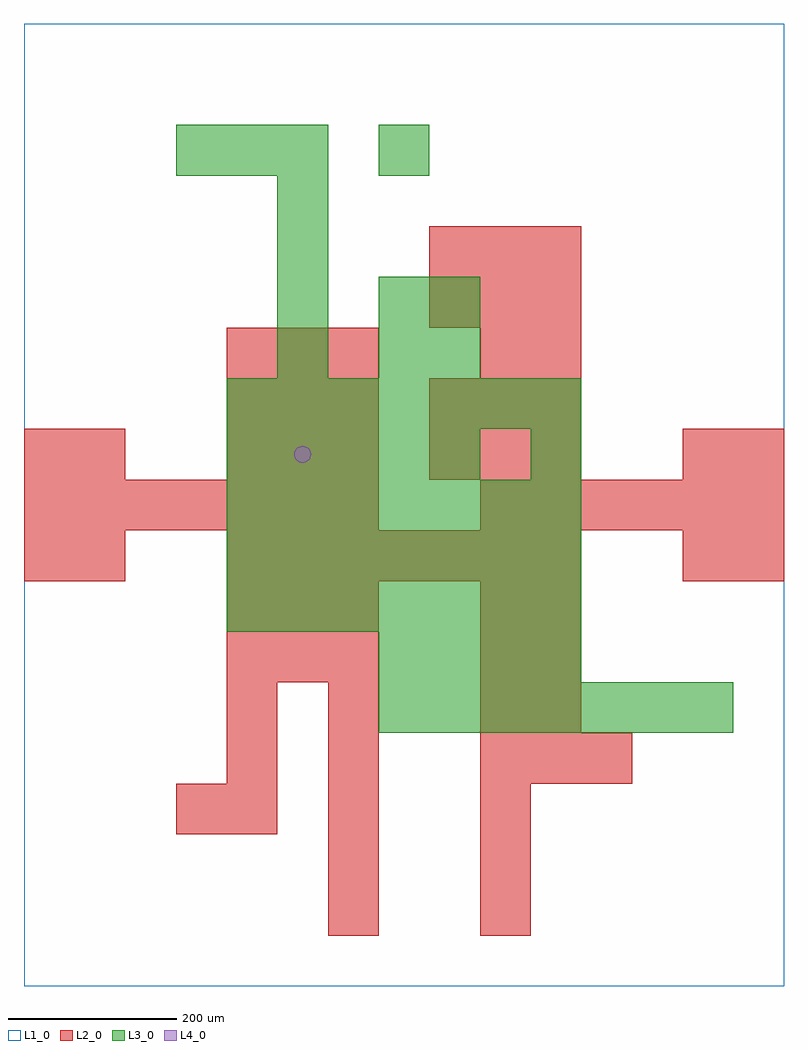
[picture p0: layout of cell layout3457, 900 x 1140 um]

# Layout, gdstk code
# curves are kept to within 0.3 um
import gdstk
lib = gdstk.Library(unit=1e-6, precision=1e-09)
def R(c, l, rs):  # rectangles x0, y0, x1, y1
    for r in rs: c.add(gdstk.rectangle(r[:2], r[2:], *l))
def A(c, l, x, y, w, h, nx, ny, dx, dy):  # array of equal rectangles
    R(c, l, [(x+i*dx, y+j*dy, x+i*dx+w, y+j*dy+h) for i in range(nx) for j in range(ny)])
def P(c, l, *ps):  # polygons
    for p in ps: c.add(gdstk.Polygon(p, *l))
L1_0 = (1, 0)
L2_0 = (2, 0)
L3_0 = (3, 0)
L4_0 = (4, 0)

layout3457 = lib.new_cell('layout3457')
R(layout3457, L1_0, [(0,0,900,1140)])
A(layout3457, L2_0, 360, 60, 60, 60, 1, 5, 0, 60)
A(layout3457, L2_0, 540, 60, 60, 60, 1, 3, 0, 60)
A(layout3457, L2_0, 240, 180, 60, 60, 1, 3, 0, 60)
A(layout3457, L2_0, 540, 240, 60, 60, 3, 1, 60, 0)
A(layout3457, L2_0, 540, 300, 60, 60, 1, 3, 0, 60)
A(layout3457, L2_0, 600, 300, 60, 60, 1, 3, 0, 60)
A(layout3457, L2_0, 240, 360, 60, 60, 3, 2, 60, 60)
A(layout3457, L2_0, 240, 480, 60, 60, 7, 1, 60, 0)
A(layout3457, L2_0, 0, 540, 60, 60, 7, 1, 60, 0)
A(layout3457, L2_0, 540, 540, 60, 60, 6, 1, 60, 0)
A(layout3457, L2_0, 240, 600, 60, 60, 3, 3, 60, 60)
A(layout3457, L2_0, 480, 600, 60, 60, 3, 2, 60, 60)
A(layout3457, L2_0, 480, 780, 60, 60, 3, 2, 60, 60)
R(layout3457, L2_0, [(180,180,240,240), (0,480,60,540), (60,480,120,540), (780,480,840,540), (840,480,900,540), (0,600,60,660), (60,600,120,660), (780,600,840,660), (840,600,900,660), (540,720,600,780), (600,720,660,780)])
A(layout3457, L3_0, 420, 300, 60, 60, 7, 1, 60, 0)
A(layout3457, L3_0, 420, 360, 60, 60, 4, 1, 60, 0)
A(layout3457, L3_0, 240, 420, 60, 60, 7, 3, 60, 60)
A(layout3457, L3_0, 240, 600, 60, 60, 5, 1, 60, 0)
A(layout3457, L3_0, 240, 660, 60, 60, 7, 1, 60, 0)
A(layout3457, L3_0, 300, 720, 60, 60, 1, 4, 0, 60)
A(layout3457, L3_0, 180, 960, 60, 60, 3, 1, 60, 0)
R(layout3457, L3_0, [(600,600,660,660), (420,720,480,780), (480,720,540,780), (420,780,480,840), (480,780,540,840), (420,960,480,1020)])
P(layout3457, L4_0, [(340,630),(339.239,633.827),(337.071,637.071),(333.827,639.239),(330,640),(326.173,639.239),(322.929,637.071),(320.761,633.827),(320,630),(320.761,626.173),(322.929,622.929),(326.173,620.761),(330,620),(333.827,620.761),(337.071,622.929),(339.239,626.173)])

lib.write_gds('layout3457.gds')
